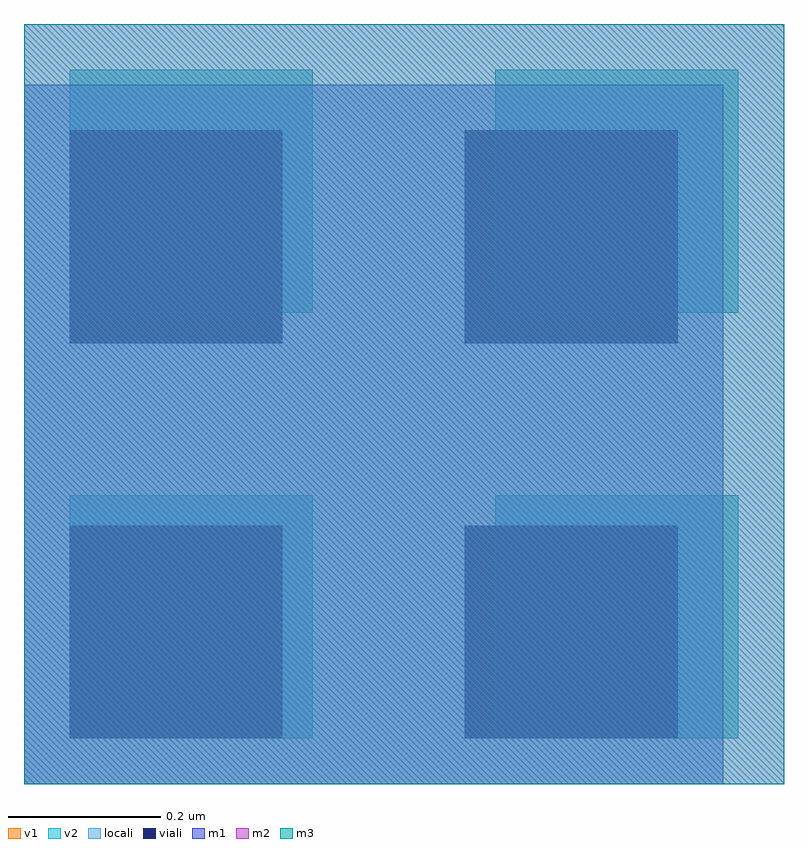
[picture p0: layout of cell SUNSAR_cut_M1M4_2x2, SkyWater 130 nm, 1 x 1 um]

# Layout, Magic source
magic
tech sky130A
magscale 1 2
<< locali >>
rect 0 0 184 184
<< viali >>
rect 12 12 68 68
rect 12 116 68 172
rect 116 12 172 68
rect 116 116 172 172
<< m1 >>
rect 0 0 184 184
<< v1 >>
rect 12 12 68 68
rect 12 116 68 172
rect 116 12 172 68
rect 116 116 172 172
<< m2 >>
rect 0 0 200 200
<< v2 >>
rect 12 12 76 76
rect 12 124 76 188
rect 124 12 188 76
rect 124 124 188 188
<< m3 >>
rect 0 0 200 200
<< labels >>
<< end >>
